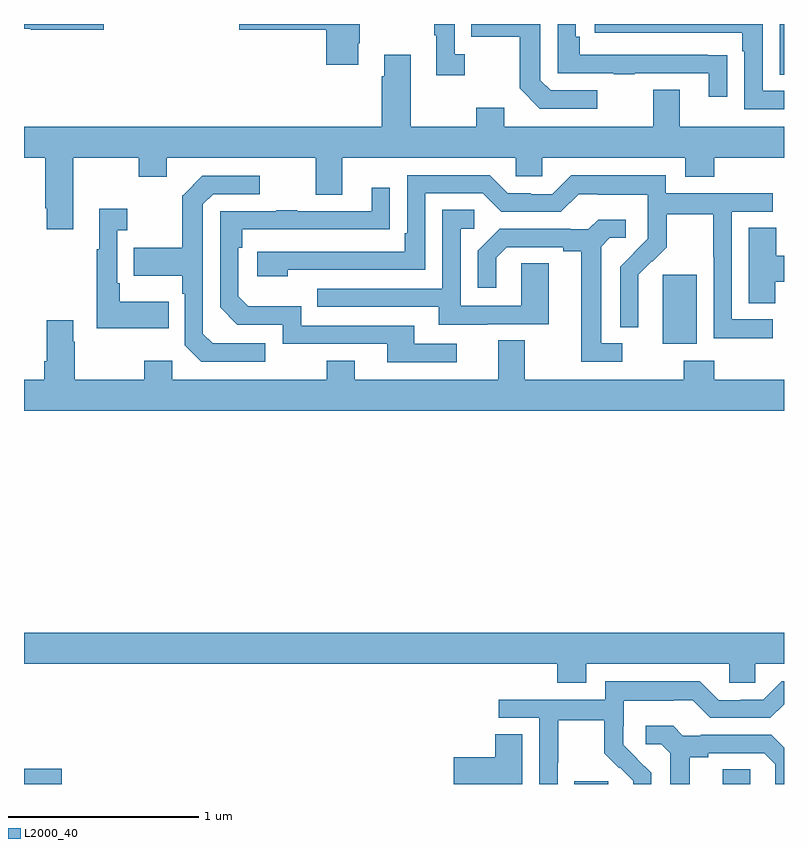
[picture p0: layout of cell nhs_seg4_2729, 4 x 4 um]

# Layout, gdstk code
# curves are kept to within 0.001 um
import gdstk
lib = gdstk.Library(unit=1e-6, precision=1e-09)
def R(c, l, rs):  # rectangles x0, y0, x1, y1
    for r in rs: c.add(gdstk.rectangle(r[:2], r[2:], *l))
def P(c, l, *ps):  # polygons
    for p in ps: c.add(gdstk.Polygon(p, *l))
L2000_40 = (2000, 40)

nhs_seg4_2729 = lib.new_cell('nhs_seg4_2729')
R(nhs_seg4_2729, L2000_40, [(255,750.9,255.199,750.98), (257.897,750.9,258.076,750.915), (258.677,750.9,258.822,750.977), (258.362,753.218,258.541,753.579), (258.978,754.633,259,754.9)])
P(nhs_seg4_2729, L2000_40, [(258.701,754.736),(258.599,754.736),(258.599,754.737),(257.924,754.737),(257.924,754.834),(257.904,754.834),(257.904,754.9),(257.808,754.9),(257.808,754.641),(258.103,754.641),(258.103,754.636),(258.215,754.636),(258.215,754.641),(258.605,754.641),(258.605,754.518),(258.701,754.518)],
  [(257.32,754.742),(257.268,754.742),(257.268,754.9),(257.16,754.9),(257.16,754.841),(257.171,754.841),(257.171,754.629),(257.32,754.629)],
  [(258.016,754.551),(257.772,754.551),(257.718,754.605),(257.718,754.9),(257.353,754.9),(257.353,754.834),(257.61,754.834),(257.61,754.561),(257.715,754.455),(258.016,754.455)],
  [(259,754.548),(258.888,754.548),(258.888,754.9),(258.003,754.9),(258.003,754.854),(258.779,754.854),(258.779,754.757),(258.792,754.757),(258.792,754.452),(259,754.452)],
  [(256.759,754.798),(256.767,754.798),(256.767,754.9),(256.134,754.9),(256.134,754.871),(256.592,754.871),(256.592,754.686),(256.759,754.686)],
  [(255.421,754.9),(255,754.9),(255,754.876),(255.036,754.876),(255.036,754.871),(255.421,754.871)],
  [(255.259,754.196),(255.604,754.196),(255.604,754.097),(255.751,754.097),(255.751,754.196),(256.535,754.196),(256.535,754.002),(256.675,754.002),(256.675,754.196),(257.589,754.196),(257.589,754.098),(257.727,754.098),(257.727,754.196),(258.479,754.196),(258.479,754.097),(258.632,754.097),(258.632,754.196),(259,754.196),(259,754.36),(258.451,754.36),(258.451,754.555),(258.311,754.555),(258.311,754.36),(257.527,754.36),(257.527,754.459),(257.38,754.459),(257.38,754.36),(257.035,754.36),(257.035,754.738),(256.895,754.738),(256.895,754.625),(256.883,754.625),(256.883,754.36),(255,754.36),(255,754.196),(255.112,754.196),(255.112,753.931),(255.119,753.931),(255.119,753.819),(255.259,753.819)],
  [(258.94,753.345),(258.726,753.345),(258.726,753.912),(258.94,753.912),(258.94,754.008),(258.378,754.008),(258.378,754.105),(257.881,754.105),(257.781,754.005),(257.666,754.005),(257.666,754.008),(257.547,754.008),(257.451,754.104),(257.016,754.104),(257.016,753.799),(257.003,753.799),(257.003,753.702),(256.227,753.702),(256.227,753.572),(256.388,753.572),(256.388,753.606),(257.112,753.606),(257.112,754.008),(257.415,754.008),(257.511,753.912),(257.826,753.912),(257.919,754.005),(258.019,754.005),(258.019,754.001),(258.282,754.001),(258.282,753.867),(258.284,753.867),(258.284,753.77),(258.138,753.622),(258.138,753.304),(258.234,753.304),(258.233,753.581),(258.303,753.651),(258.306,753.648),(258.383,753.725),(258.383,753.9),(258.628,753.9),(258.628,753.676),(258.63,753.676),(258.63,753.247),(258.94,753.247)],
  [(256.27,753.219),(255.993,753.219),(255.942,753.27),(255.942,753.951),(255.996,754.005),(256.24,754.005),(256.24,754.101),(255.939,754.101),(255.834,753.995),(255.834,753.723),(255.577,753.723),(255.577,753.575),(255.834,753.575),(255.834,753.479),(255.846,753.479),(255.846,753.21),(255.933,753.123),(256.27,753.123)],
  [(257.278,753.216),(257.053,753.216),(257.053,753.312),(256.458,753.312),(256.458,753.415),(256.181,753.415),(256.128,753.468),(256.128,753.722),(256.148,753.722),(256.148,753.819),(256.925,753.82),(256.925,754.039),(256.829,754.039),(256.829,753.915),(256.439,753.915),(256.439,753.92),(256.327,753.92),(256.327,753.915),(256.032,753.915),(256.032,753.408),(256.122,753.318),(256.362,753.318),(256.362,753.216),(256.913,753.216),(256.913,753.12),(257.278,753.12)],
  [(255.761,753.439),(255.505,753.439),(255.505,753.535),(255.492,753.535),(255.492,753.815),(255.544,753.815),(255.544,753.928),(255.395,753.928),(255.395,753.715),(255.384,753.715),(255.384,753.299),(255.761,753.299)],
  [(257.437,753.321),(257.761,753.321),(257.761,753.641),(257.616,753.641),(257.616,753.417),(257.298,753.417),(257.298,753.822),(257.371,753.822),(257.371,753.923),(257.202,753.923),(257.202,753.507),(256.543,753.507),(256.543,753.411),(257.183,753.411),(257.183,753.317),(257.437,753.317)],
  [(258.148,753.219),(258.037,753.219),(258.037,753.727),(258.084,753.774),(258.166,753.774),(258.166,753.871),(258.022,753.871),(257.97,753.819),(257.876,753.819),(257.876,753.822),(257.504,753.822),(257.388,753.706),(257.388,753.513),(257.485,753.513),(257.485,753.669),(257.542,753.726),(257.837,753.726),(257.837,753.704),(257.933,753.704),(257.933,753.123),(258.148,753.123)],
  [(258.954,753.544),(259,753.544),(259,753.68),(258.959,753.68),(258.959,753.827),(258.815,753.827),(258.815,753.43),(258.954,753.43)],
  [(259,753.028),(258.632,753.028),(258.632,753.127),(258.472,753.127),(258.472,753.028),(257.635,753.028),(257.635,753.236),(257.495,753.236),(257.495,753.028),(256.741,753.028),(256.741,753.127),(256.594,753.127),(256.594,753.028),(255.78,753.028),(255.78,753.127),(255.634,753.127),(255.634,753.028),(255.267,753.028),(255.267,753.227),(255.259,753.227),(255.259,753.34),(255.119,753.34),(255.119,753.124),(255.107,753.124),(255.107,753.028),(255,753.028),(255,752.864),(259,752.864)],
  [(257.959,751.532),(258.711,751.532),(258.711,751.434),(258.849,751.434),(258.849,751.532),(259,751.532),(259,751.696),(255,751.696),(255,751.532),(257.807,751.532),(257.807,751.433),(257.959,751.433)],
  [(257.808,751.012),(257.811,751.012),(257.811,751.236),(258.055,751.236),(258.055,751.061),(258.132,750.984),(258.135,750.987),(258.206,750.917),(258.206,750.9),(258.3,750.9),(258.3,750.958),(258.154,751.106),(258.154,751.203),(258.156,751.203),(258.156,751.337),(258.419,751.337),(258.419,751.341),(258.519,751.341),(258.612,751.248),(258.927,751.248),(259,751.321),(259,751.44),(258.987,751.44),(258.891,751.344),(258.773,751.344),(258.773,751.341),(258.657,751.341),(258.557,751.441),(258.06,751.441),(258.06,751.344),(257.499,751.344),(257.499,751.248),(257.712,751.248),(257.712,750.9),(257.808,750.9)],
  [(258.505,751.04),(258.601,751.04),(258.601,751.062),(258.896,751.062),(258.953,751.005),(258.953,750.9),(259,750.9),(259,751.092),(258.934,751.158),(258.562,751.158),(258.562,751.155),(258.468,751.155),(258.416,751.207),(258.273,751.207),(258.273,751.11),(258.354,751.11),(258.401,751.063),(258.401,750.9),(258.505,750.9)],
  [(257.623,751.163),(257.48,751.163),(257.48,751.04),(257.262,751.04),(257.262,750.9),(257.623,750.9)])

lib.write_gds('nhs_seg4_2729.gds')
